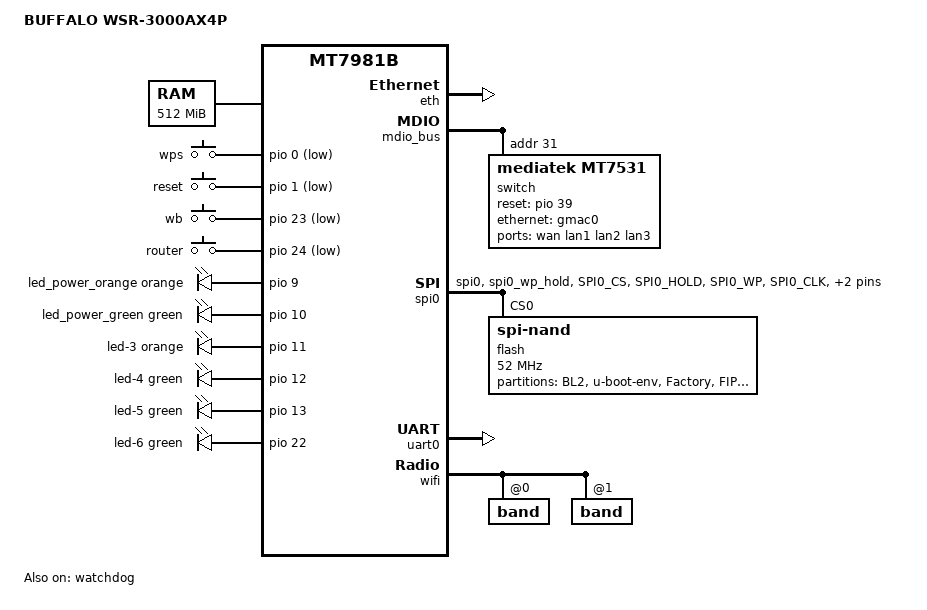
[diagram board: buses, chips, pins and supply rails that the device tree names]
// SPDX-License-Identifier: GPL-2.0-or-later OR MIT

/dts-v1/;

#include "mt7981b.dtsi"

/ {
	model = "BUFFALO WSR-3000AX4P";
	compatible = "buffalo,wsr-3000ax4p", "mediatek,mt7981b";

	aliases {
		label-mac-device = &gmac0;
		led-boot = &led_power_green;
		led-failsafe = &led_power_orange;
		led-running = &led_power_green;
		led-upgrade = &led_power_green;
		serial0 = &uart0;
	};

	chosen {
		bootargs-override = "earlycon";
		stdout-path = "serial0:115200n8";
	};

	memory@40000000 {
		device_type = "memory";
		reg = <0x0 0x40000000 0x0 0x20000000>;
	};

	keys {
		compatible = "gpio-keys";

		button-wps {
			label = "wps";
			gpios = <&pio 0 GPIO_ACTIVE_LOW>;
			linux,code = <KEY_WPS_BUTTON>;
		};

		button-reset {
			label = "reset";
			gpios = <&pio 1 GPIO_ACTIVE_LOW>;
			linux,code = <KEY_RESTART>;
		};

		switch-wireless-bridge {
			label = "wb";
			gpios = <&pio 23 GPIO_ACTIVE_LOW>;
			linux,code = <BTN_0>;
			linux,input_type = <EV_SW>;
		};

		switch-router {
			label = "router";
			gpios = <&pio 24 GPIO_ACTIVE_LOW>;
			linux,code = <BTN_1>;
			linux,input_type = <EV_SW>;
		};
	};

	leds {
		compatible = "gpio-leds";

		led_power_orange: led-1 {
			function = LED_FUNCTION_POWER;
			color = <LED_COLOR_ID_ORANGE>;
			gpios = <&pio 9 GPIO_ACTIVE_HIGH>;
		};

		led_power_green: led-2 {
			function = LED_FUNCTION_POWER;
			color = <LED_COLOR_ID_GREEN>;
			gpios = <&pio 10 GPIO_ACTIVE_HIGH>;
		};

		led-3 {
			function = LED_FUNCTION_WLAN;
			color = <LED_COLOR_ID_ORANGE>;
			gpios = <&pio 11 GPIO_ACTIVE_HIGH>;
		};

		led-4 {
			function = LED_FUNCTION_WLAN;
			color = <LED_COLOR_ID_GREEN>;
			gpios = <&pio 12 GPIO_ACTIVE_HIGH>;
		};

		led-5 {
			function = LED_FUNCTION_WAN_ONLINE;
			color = <LED_COLOR_ID_GREEN>;
			gpios = <&pio 13 GPIO_ACTIVE_HIGH>;
		};

		led-6 {
			function = "router";
			color = <LED_COLOR_ID_GREEN>;
			gpios = <&pio 22 GPIO_ACTIVE_HIGH>;
		};
	};
};

&eth {
	pinctrl-0 = <&mdio_pins>;
	pinctrl-names = "default";
	status = "okay";
	#address-cells = <1>;
	#size-cells = <0>;

	gmac0: mac@0 {
		compatible = "mediatek,eth-mac";
		reg = <0>;
		phy-connection-type = "2500base-x";

		nvmem-cells = <&macaddr_bdata_mac 0>;
		nvmem-cell-names = "mac-address";

		fixed-link {
			speed = <2500>;
			full-duplex;
			pause;
		};
	};
};

&mdio_bus {
	switch@1f {
		compatible = "mediatek,mt7531";
		reg = <31>;
		reset-gpios = <&pio 39 GPIO_ACTIVE_HIGH>;

		ports {
			#address-cells = <1>;
			#size-cells = <0>;

			port@0 {
				reg = <0>;
				label = "wan";
			};

			port@1 {
				reg = <1>;
				label = "lan1";
			};

			port@2 {
				reg = <2>;
				label = "lan2";
			};

			port@4 {
				reg = <4>;
				label = "lan3";
			};

			port@6 {
				reg = <6>;
				ethernet = <&gmac0>;
				phy-connection-type = "2500base-x";

				fixed-link {
					speed = <2500>;
					full-duplex;
					pause;
				};
			};
		};
	};
};

&pio {
	spi0_flash_pins: spi0-pins {
		mux {
			function = "spi";
			groups = "spi0", "spi0_wp_hold";
		};

		conf-pu {
			pins = "SPI0_CS", "SPI0_HOLD", "SPI0_WP";
			drive-strength = <MTK_DRIVE_8mA>;
			bias-pull-up = <MTK_PUPD_SET_R1R0_11>;
		};

		conf-pd {
			pins = "SPI0_CLK", "SPI0_MOSI", "SPI0_MISO";
			drive-strength = <MTK_DRIVE_8mA>;
			bias-pull-down = <MTK_PUPD_SET_R1R0_11>;
		};
	};
};

&spi0 {
	pinctrl-0 = <&spi0_flash_pins>;
	pinctrl-names = "default";
	status = "okay";

	flash@0 {
		compatible = "spi-nand";
		reg = <0>;

		spi-max-frequency = <52000000>;
		spi-tx-bus-width = <4>;
		spi-rx-bus-width = <4>;

		mediatek,nmbm;
		mediatek,bmt-max-ratio = <1>;
		mediatek,bmt-max-reserved-blocks = <64>;
		mediatek,bmt-remap-range =
			<0x0000000 0x580000>,  /*     BL2 - FIP */
			<0x3980000 0x4880000>; /*  glbcfg - debug_log */

		partitions {
			compatible = "fixed-partitions";
			#address-cells = <1>;
			#size-cells = <1>;

			partition@0 {
				label = "BL2";
				reg = <0x0 0x100000>;
				read-only;
			};

			partition@100000 {
				label = "u-boot-env";
				reg = <0x100000 0x80000>;
			};

			partition@180000 {
				label = "Factory";
				reg = <0x180000 0x200000>;
				read-only;

				nvmem-layout {
					compatible = "fixed-layout";
					#address-cells = <1>;
					#size-cells = <1>;

					eeprom_factory_0: eeprom@0 {
						reg = <0x0 0x1000>;
					};
				};
			};

			partition@380000 {
				label = "FIP";
				reg = <0x380000 0x200000>;
				read-only;
			};

			/* stock: "ubi" */
			partition@580000 {
				label = "ubi_kernel";
				reg = <0x580000 0x1a00000>;
			};

			partition@1f80000 {
				label = "Kernel2";
				reg = <0x1f80000 0x1a00000>;
			};

			partition@3980000 {
				label = "glbcfg";
				reg = <0x3980000 0x200000>;
				read-only;
			};

			partition@3b80000 {
				label = "seccfg";
				reg = <0x3b80000 0x200000>;
				read-only;
			};

			partition@3d80000 {
				label = "board_data";
				reg = <0x3d80000 0x200000>;
				read-only;

				nvmem-layout {
					compatible = "ascii-eq-delim-env";

					macaddr_bdata_mac: mac {
						compatible = "mac-base";
						#nvmem-cell-cells = <1>;
					};
				};
			};

			partition@3f80000 {
				label = "debug_log";
				reg = <0x3f80000 0x900000>;
				read-only;
			};

			/*
			 * stock: "WTB"
			 *
			 * The "WTB" partition is for "ネット脅威ブロッカー"
			 * (en: Web Threat Blocker, DiXiM Security).
			 * By default, a UBI with "dpi" volume exists. This UBI will
			 * be rebuilt automatically if no "dpi" volume exists while
			 * booting with stock firmware.
			 */
			partition@4880000 {
				label = "ubi";
				reg = <0x4880000 0x2c00000>;
			};
		};
	};
};

&uart0 {
	status = "okay";
};

&watchdog {
	status = "okay";
};

&wifi {
	nvmem-cells = <&eeprom_factory_0>;
	nvmem-cell-names = "eeprom";
	status = "okay";
	#address-cells = <1>;
	#size-cells = <0>;

	band@0 {
		reg = <0>;
		nvmem-cells = <&macaddr_bdata_mac 2>;
		nvmem-cell-names = "mac-address";
	};

	band@1 {
		reg = <1>;
		nvmem-cells = <&macaddr_bdata_mac 9>;
		nvmem-cell-names = "mac-address";
	};
};
